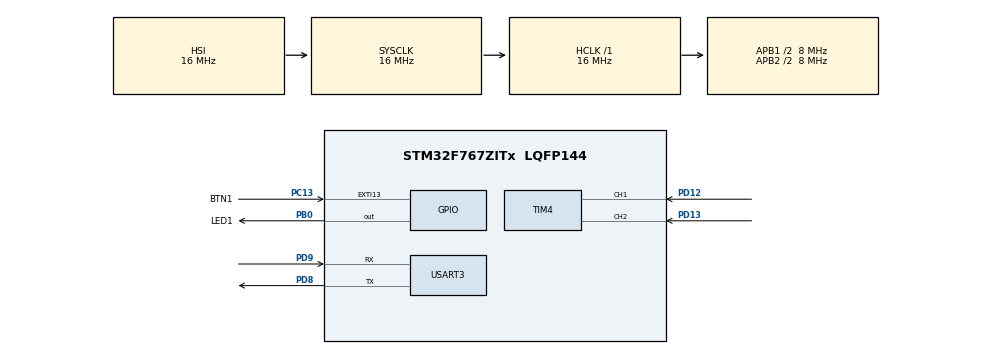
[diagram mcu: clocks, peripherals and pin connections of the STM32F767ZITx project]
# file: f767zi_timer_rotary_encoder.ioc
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CORTEX_M7.default_mode_Activation=1
Mcu.Family=STM32F7
Mcu.Name=STM32F767ZITx
Mcu.Package=LQFP144
NVIC.EXTI15_10_IRQn=true\:0\:0\:false\:false\:true\:true\:true\:true
NVIC.PriorityGroup=NVIC_PRIORITYGROUP_4
NVIC.TIM4_IRQn=true\:0\:0\:false\:false\:true\:true\:true\:true
PA13.Mode=Serial_Wire
PA13.Signal=SYS_JTMS-SWDIO
PA14.Mode=Serial_Wire
PA14.Signal=SYS_JTCK-SWCLK
PB0.GPIO_Label=LED1
PB0.Signal=GPIO_Output
PC13.GPIO_Label=BTN1
PC13.Signal=GPXTI13
PD12.Signal=S_TIM4_CH1
PD13.Signal=S_TIM4_CH2
PD8.Mode=Asynchronous
PD8.Signal=USART3_TX
PD9.Mode=Asynchronous
PD9.Signal=USART3_RX
PH0/OSC_IN.Mode=HSE-External-Oscillator
PH0/OSC_IN.Signal=RCC_OSC_IN
PH1/OSC_OUT.Mode=HSE-External-Oscillator
PH1/OSC_OUT.Signal=RCC_OSC_OUT
ProjectManager.HeapSize=0x200
ProjectManager.StackSize=0x400
ProjectManager.TargetToolchain=STM32CubeIDE
RCC.AHBFreq_Value=16000000
RCC.APB1CLKDivider=RCC_HCLK_DIV2
RCC.APB1Freq_Value=8000000
RCC.APB1TimFreq_Value=16000000
RCC.APB2CLKDivider=RCC_HCLK_DIV2
RCC.APB2Freq_Value=8000000
RCC.APB2TimFreq_Value=16000000
RCC.CortexFreq_Value=16000000
RCC.HCLKFreq_Value=16000000
RCC.HSE_VALUE=25000000
RCC.HSI_VALUE=16000000
RCC.LSE_VALUE=32768
RCC.PLLM=12
RCC.PLLN=96
RCC.SYSCLKFreq_VALUE=16000000
RCC.USBFreq_Value=64000000
RCC.VCOOutputFreq_Value=128000000
SH.S_TIM4_CH1.0=TIM4_CH1,Encoder_Interface
SH.S_TIM4_CH2.0=TIM4_CH2,Encoder_Interface
USART3.VirtualMode-Asynchronous=VM_ASYNC
board=custom

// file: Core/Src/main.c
/* USER CODE BEGIN Header */
/**
  ******************************************************************************
  * @file           : main.c
  * @brief          : Main program body
  ******************************************************************************
  * @attention
  *
  * Copyright (c) 2025 STMicroelectronics.
  * All rights reserved.
  *
  * This software is licensed under terms that can be found in the LICENSE file
  * in the root directory of this software component.
  * If no LICENSE file comes with this software, it is provided AS-IS.
  *
  ******************************************************************************
  */
/* USER CODE END Header */
#include "main.h"

/* USER CODE BEGIN Includes */
#include <stdio.h>
#include <stdbool.h>
/* USER CODE END Includes */

TIM_HandleTypeDef htim4;

UART_HandleTypeDef huart3;

/* USER CODE BEGIN PV */
uint8_t btn_pressed=0;
uint16_t blink_delays[]={
		500,250,100
};
uint8_t blink_delay=0;
/* USER CODE END PV */

void SystemClock_Config(void);
static void MPU_Config(void);
static void MX_GPIO_Init(void);
static void MX_USART3_UART_Init(void);
static void MX_TIM4_Init(void);

/* USER CODE BEGIN 0 */

// redirect printf to uart3
// fd == file descriptor. 1 = stdout, 2 stderr
// ptr == pointer to the data being sent
// len == length of the data (in bytes)
int _write(int fd, char* ptr, int len) {
 HAL_StatusTypeDef hstatus;

 if (fd == 1 || fd == 2) {
   hstatus = HAL_UART_Transmit(&huart3, (uint8_t *) ptr, len, HAL_MAX_DELAY);
   if (hstatus == HAL_OK)
     return len;
   else
     return -1;
 }
 return -1;
}

void HAL_GPIO_EXTI_Callback(uint16_t GPIO_Pin){
	if (GPIO_Pin == BTN1_Pin){
		btn_pressed = 1;
	}
}

void HAL_TIM_PeriodElapsedCallback(TIM_HandleTypeDef *htim){
	HAL_GPIO_TogglePin(LED1_GPIO_Port, LED1_Pin);
}
/* USER CODE END 0 */

int main(void)
{

  /* MPU Configuration--------------------------------------------------------*/
  MPU_Config();

  /* MCU Configuration--------------------------------------------------------*/

  /* Reset of all peripherals, Initializes the Flash interface and the Systick. */
  HAL_Init();

  /* Configure the system clock */
  SystemClock_Config();

  /* Initialize all configured peripherals */
  MX_GPIO_Init();
  MX_USART3_UART_Init();
  MX_TIM4_Init();
  /* USER CODE BEGIN 2 */
  if (__HAL_RCC_GET_FLAG(RCC_FLAG_HSERDY)) {
      printf("HSE is present and running\r\n");
  } else {
      printf("HSE not detected - using HSI\r\n");  // You'll likely see this
  }
  uint32_t now = 0,next_tick=1000;
  printf("Timer rotary encoding starting\r\n");
  HAL_TIM_Base_Start_IT(&htim4);
  /* USER CODE END 2 */

  /* Infinite loop */
  /* USER CODE BEGIN WHILE */
  while (1)
  {
	  now = HAL_GetTick();
	  if (now>=next_tick){
		  printf("Tick %lu \r\n",now/1000);
		  next_tick=now+1000;
	  }
  }
    /* USER CODE END WHILE */

}

void SystemClock_Config(void)
{
  RCC_OscInitTypeDef RCC_OscInitStruct = {0};
  RCC_ClkInitTypeDef RCC_ClkInitStruct = {0};

  /** Configure the main internal regulator output voltage
  */
  __HAL_RCC_PWR_CLK_ENABLE();
  __HAL_PWR_VOLTAGESCALING_CONFIG(PWR_REGULATOR_VOLTAGE_SCALE3);

  /** Initializes the RCC Oscillators according to the specified parameters
  * in the RCC_OscInitTypeDef structure.
  */
  RCC_OscInitStruct.OscillatorType = RCC_OSCILLATORTYPE_HSI;
  RCC_OscInitStruct.HSIState = RCC_HSI_ON;
  RCC_OscInitStruct.HSICalibrationValue = RCC_HSICALIBRATION_DEFAULT;
  RCC_OscInitStruct.PLL.PLLState = RCC_PLL_NONE;
  if (HAL_RCC_OscConfig(&RCC_OscInitStruct) != HAL_OK)
  {
    Error_Handler();
  }

  /** Initializes the CPU, AHB and APB buses clocks
  */
  RCC_ClkInitStruct.ClockType = RCC_CLOCKTYPE_HCLK|RCC_CLOCKTYPE_SYSCLK
                              |RCC_CLOCKTYPE_PCLK1|RCC_CLOCKTYPE_PCLK2;
  RCC_ClkInitStruct.SYSCLKSource = RCC_SYSCLKSOURCE_HSI;
  RCC_ClkInitStruct.AHBCLKDivider = RCC_SYSCLK_DIV1;
  RCC_ClkInitStruct.APB1CLKDivider = RCC_HCLK_DIV2;
  RCC_ClkInitStruct.APB2CLKDivider = RCC_HCLK_DIV2;

  if (HAL_RCC_ClockConfig(&RCC_ClkInitStruct, FLASH_LATENCY_0) != HAL_OK)
  {
    Error_Handler();
  }
}

static void MX_TIM4_Init(void)
{

  TIM_Encoder_InitTypeDef sConfig = {0};
  TIM_MasterConfigTypeDef sMasterConfig = {0};

  htim4.Instance = TIM4;
  htim4.Init.Prescaler = 0;
  htim4.Init.CounterMode = TIM_COUNTERMODE_UP;
  htim4.Init.Period = 65535;
  htim4.Init.ClockDivision = TIM_CLOCKDIVISION_DIV1;
  htim4.Init.AutoReloadPreload = TIM_AUTORELOAD_PRELOAD_DISABLE;
  sConfig.EncoderMode = TIM_ENCODERMODE_TI1;
  sConfig.IC1Polarity = TIM_ICPOLARITY_RISING;
  sConfig.IC1Selection = TIM_ICSELECTION_DIRECTTI;
  sConfig.IC1Prescaler = TIM_ICPSC_DIV1;
  sConfig.IC1Filter = 0;
  sConfig.IC2Polarity = TIM_ICPOLARITY_RISING;
  sConfig.IC2Selection = TIM_ICSELECTION_DIRECTTI;
  sConfig.IC2Prescaler = TIM_ICPSC_DIV1;
  sConfig.IC2Filter = 0;
  if (HAL_TIM_Encoder_Init(&htim4, &sConfig) != HAL_OK)
  {
    Error_Handler();
  }
  sMasterConfig.MasterOutputTrigger = TIM_TRGO_RESET;
  sMasterConfig.MasterSlaveMode = TIM_MASTERSLAVEMODE_DISABLE;
  if (HAL_TIMEx_MasterConfigSynchronization(&htim4, &sMasterConfig) != HAL_OK)
  {
    Error_Handler();
  }

}

static void MX_USART3_UART_Init(void)
{

  huart3.Instance = USART3;
  huart3.Init.BaudRate = 115200;
  huart3.Init.WordLength = UART_WORDLENGTH_8B;
  huart3.Init.StopBits = UART_STOPBITS_1;
  huart3.Init.Parity = UART_PARITY_NONE;
  huart3.Init.Mode = UART_MODE_TX_RX;
  huart3.Init.HwFlowCtl = UART_HWCONTROL_NONE;
  huart3.Init.OverSampling = UART_OVERSAMPLING_16;
  huart3.Init.OneBitSampling = UART_ONE_BIT_SAMPLE_DISABLE;
  huart3.AdvancedInit.AdvFeatureInit = UART_ADVFEATURE_NO_INIT;
  if (HAL_UART_Init(&huart3) != HAL_OK)
  {
    Error_Handler();
  }

}

static void MX_GPIO_Init(void)
{
  GPIO_InitTypeDef GPIO_InitStruct = {0};
  /* USER CODE BEGIN MX_GPIO_Init_1 */
  __HAL_RCC_GPIOD_CLK_ENABLE();  // Enable GPIOD clock
  GPIO_InitStruct.Pin = GPIO_PIN_8 | GPIO_PIN_9;  // PD8 (TX), PD9 (RX)
  GPIO_InitStruct.Mode = GPIO_MODE_AF_PP;         // Alternate function push-pull
  GPIO_InitStruct.Pull = GPIO_NOPULL;             // No pull-up/pull-down
  GPIO_InitStruct.Speed = GPIO_SPEED_FREQ_VERY_HIGH;
  GPIO_InitStruct.Alternate = GPIO_AF7_USART3;    // Must be AF7 for USART3!
  HAL_GPIO_Init(GPIOD, &GPIO_InitStruct);
  /* USER CODE END MX_GPIO_Init_1 */

  /* GPIO Ports Clock Enable */
  __HAL_RCC_GPIOC_CLK_ENABLE();
  __HAL_RCC_GPIOH_CLK_ENABLE();
  __HAL_RCC_GPIOB_CLK_ENABLE();
  __HAL_RCC_GPIOD_CLK_ENABLE();
  __HAL_RCC_GPIOA_CLK_ENABLE();

  /*Configure GPIO pin Output Level */
  HAL_GPIO_WritePin(LED1_GPIO_Port, LED1_Pin, GPIO_PIN_RESET);

  /*Configure GPIO pin : BTN1_Pin */
  GPIO_InitStruct.Pin = BTN1_Pin;
  GPIO_InitStruct.Mode = GPIO_MODE_IT_RISING;
  GPIO_InitStruct.Pull = GPIO_NOPULL;
  HAL_GPIO_Init(BTN1_GPIO_Port, &GPIO_InitStruct);

  /*Configure GPIO pin : LED1_Pin */
  GPIO_InitStruct.Pin = LED1_Pin;
  GPIO_InitStruct.Mode = GPIO_MODE_OUTPUT_PP;
  GPIO_InitStruct.Pull = GPIO_NOPULL;
  GPIO_InitStruct.Speed = GPIO_SPEED_FREQ_LOW;
  HAL_GPIO_Init(LED1_GPIO_Port, &GPIO_InitStruct);

  /* EXTI interrupt init*/
  HAL_NVIC_SetPriority(EXTI15_10_IRQn, 0, 0);
  HAL_NVIC_EnableIRQ(EXTI15_10_IRQn);

}

 /* MPU Configuration */

void MPU_Config(void)
{
  MPU_Region_InitTypeDef MPU_InitStruct = {0};

  /* Disables the MPU */
  HAL_MPU_Disable();

  /** Initializes and configures the Region and the memory to be protected
  */
  MPU_InitStruct.Enable = MPU_REGION_ENABLE;
  MPU_InitStruct.Number = MPU_REGION_NUMBER0;
  MPU_InitStruct.BaseAddress = 0x0;
  MPU_InitStruct.Size = MPU_REGION_SIZE_4GB;
  MPU_InitStruct.SubRegionDisable = 0x87;
  MPU_InitStruct.TypeExtField = MPU_TEX_LEVEL0;
  MPU_InitStruct.AccessPermission = MPU_REGION_NO_ACCESS;
  MPU_InitStruct.DisableExec = MPU_INSTRUCTION_ACCESS_DISABLE;
  MPU_InitStruct.IsShareable = MPU_ACCESS_SHAREABLE;
  MPU_InitStruct.IsCacheable = MPU_ACCESS_NOT_CACHEABLE;
  MPU_InitStruct.IsBufferable = MPU_ACCESS_NOT_BUFFERABLE;

  HAL_MPU_ConfigRegion(&MPU_InitStruct);
  /* Enables the MPU */
  HAL_MPU_Enable(MPU_PRIVILEGED_DEFAULT);

}

void Error_Handler(void)
{
  __disable_irq();
  while (1)
  {
  }
}
